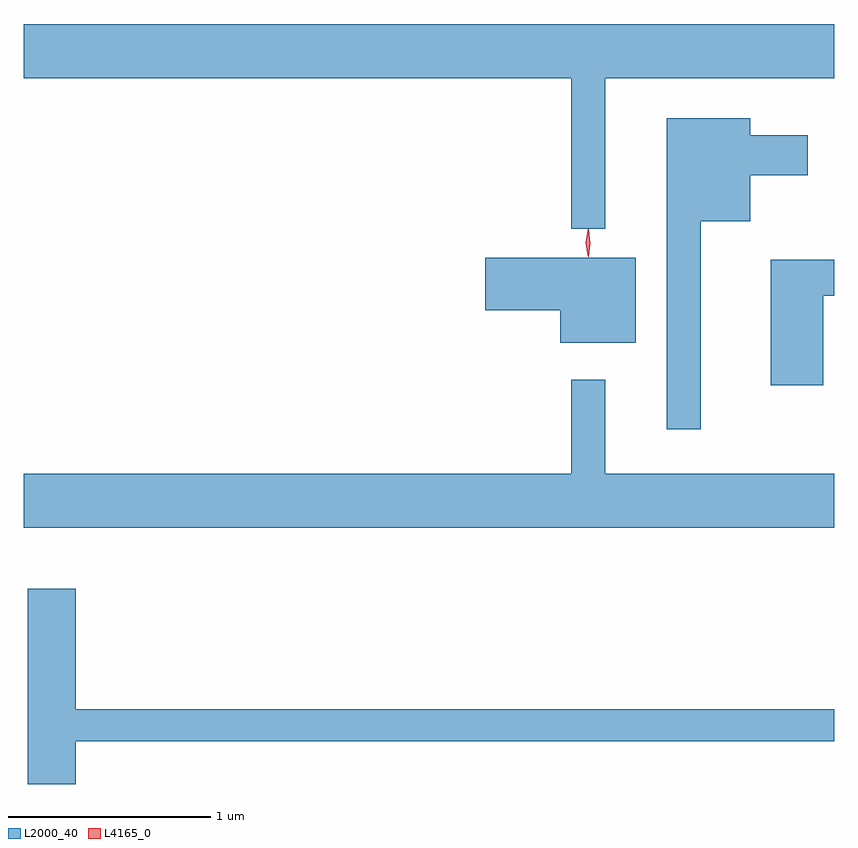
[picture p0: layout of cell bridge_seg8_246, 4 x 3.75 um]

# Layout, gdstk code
import gdstk
lib = gdstk.Library(unit=1e-6, precision=1e-09)
def P(c, l, *ps):  # polygons
    for p in ps: c.add(gdstk.Polygon(p, *l))
L2000_40 = (2000, 40)
L4165_0 = (4165, 0)

bridge_seg8_246 = lib.new_cell('bridge_seg8_246')
P(bridge_seg8_246, L2000_40, [(1089.459,1834.196),(1090.588,1834.196),(1090.588,1834.464),(1086.588,1834.464),(1086.588,1834.196),(1089.291,1834.196),(1089.291,1833.453),(1089.459,1833.453)],
  [(1089.929,1833.491),(1090.174,1833.491),(1090.174,1833.716),(1090.459,1833.716),(1090.459,1833.914),(1090.174,1833.914),(1090.174,1833.999),(1089.761,1833.999),(1089.761,1832.463),(1089.929,1832.463)],
  [(1089.609,1833.309),(1088.866,1833.309),(1088.866,1833.051),(1089.236,1833.051),(1089.236,1832.891),(1089.609,1832.891)],
  [(1090.534,1833.121),(1090.588,1833.121),(1090.588,1833.299),(1090.276,1833.299),(1090.276,1832.681),(1090.534,1832.681)],
  [(1090.588,1832.244),(1089.459,1832.244),(1089.459,1832.708),(1089.291,1832.708),(1089.291,1832.244),(1086.588,1832.244),(1086.588,1831.976),(1090.588,1831.976)],
  [(1086.844,1830.921),(1090.588,1830.921),(1090.588,1831.079),(1086.844,1831.079),(1086.844,1831.674),(1086.606,1831.674),(1086.606,1830.711),(1086.844,1830.711)])
P(bridge_seg8_246, L4165_0, [(1089.375,1833.314),(1089.366,1833.382),(1089.374,1833.45),(1089.375,1833.45),(1089.376,1833.45),(1089.385,1833.382),(1089.376,1833.314),(1089.376,1833.314)],
  [(1089.371,1833.32),(1089.362,1833.384),(1089.371,1833.446),(1089.372,1833.447),(1089.372,1833.446),(1089.382,1833.384),(1089.372,1833.32),(1089.372,1833.32)])

lib.write_gds('bridge_seg8_246.gds')
